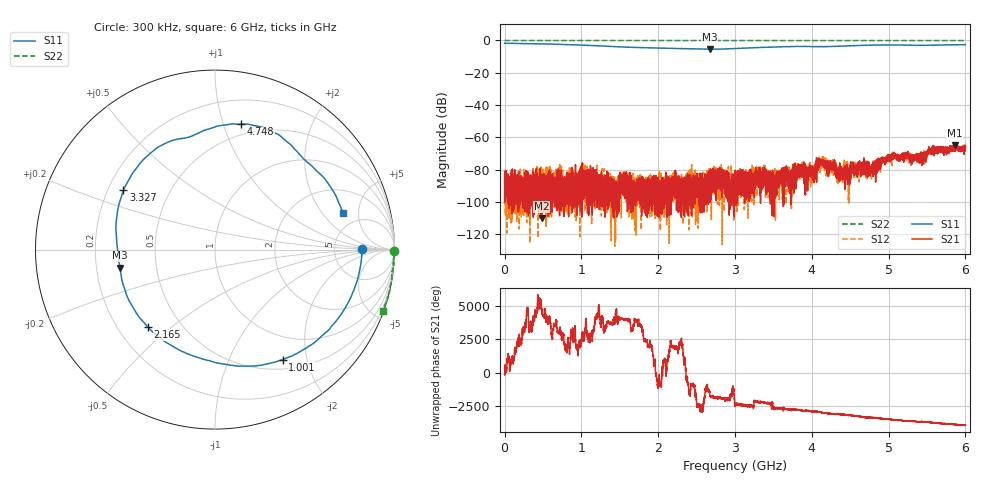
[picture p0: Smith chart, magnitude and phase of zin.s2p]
!  8/10/2020  01:56:34
! Ref Plane: 0.000 mm
# MHZ S MA R  50
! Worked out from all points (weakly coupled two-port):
!   10001 points, 300 kHz to 6 GHz, reference 50 ohm
!   highest |S21| = -64.66 dB at 5.862 GHz (marker M1); lowest = -110.0 dB at 485.7 MHz (marker M2)
!   lowest |S11| = -5.4 dB at 2.669 GHz (marker M3), VSWR 3.34, Z = 15.1 - j4.28 ohm
!   |S11| at or under -10 dB: nowhere
!   |S22| runs from -0.1 to 0.0 dB; largest |S21 - S12| = 0.00021
!   S11 on the Smith chart (normalised r, x): 300 kHz: 10, +0; 1.001 GHz: 0.63, -1.61; 2.165 GHz: 0.32, -0.42; 3.327 GHz: 0.26, +0.28; 4.748 GHz: 0.40, +1.14; 6 GHz: 3.70, +3.29
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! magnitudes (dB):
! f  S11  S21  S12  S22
! 300 kHz  -1.7  -100.3  -89.4  0.0
! 485.7 MHz  -2.1  -110.0  -97.0  0.0
! 1 GHz  -2.9  -80.7  -95.2  0.0
! 1.001 GHz  -2.9  -82.4  -90.6  0.0
! 2.001 GHz  -4.7  -88.5  -105.4  0.0
! 2.165 GHz  -4.9  -85.4  -89.6  0.0
! 2.669 GHz  -5.4  -82.5  -84.0  0.0
! 3 GHz  -5.0  -89.7  -84.0  0.0
! 3.327 GHz  -4.3  -81.3  -84.8  0.0
! 4 GHz  -3.8  -81.3  -78.1  0.0
! 4.127 GHz  -3.8  -74.3  -73.1  0.0
! 4.235 GHz  -3.7  -78.1  -76.2  0.0
! 4.289 GHz  -3.6  -78.5  -76.9  0.0
! 4.358 GHz  -3.5  -81.1  -80.8  0.0
! 4.646 GHz  -3.0  -78.0  -79.2  0.0
! 4.748 GHz  -2.9  -78.3  -77.9  0.0
! 5 GHz  -2.7  -72.3  -73.5  0.0
! 5.216 GHz  -2.8  -69.8  -71.8  0.0
! 5.416 GHz  -3.0  -73.3  -72.5  0.0
! 5.588 GHz  -2.9  -69.1  -69.4  0.0
! 5.862 GHz  -2.6  -64.7  -65.9  0.0
! 6 GHz  -2.6  -66.1  -64.8  -0.1
